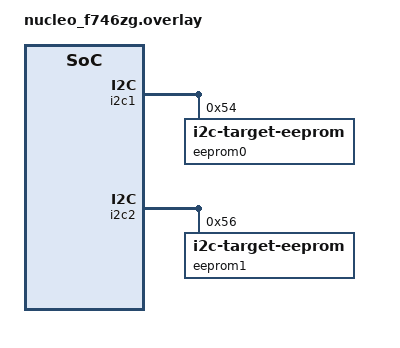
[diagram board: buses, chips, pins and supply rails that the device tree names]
/*
 * Copyright (c) 2020 Nordic Semiconductor ASA
 * SPDX-License-Identifier: Apache-2.0
 */

/* I2C bus pins are exposed on the ST morpho header.
 *
 *  Bus        SDA               SCL
 *          Pin   Hdr         Pin   Hdr
 *  i2c1    PB9   CN7:4      PB8   CN7:2
 *  i2c2    PB11  CN10:34    PB10  CN10:32
 *
 * Short Pin PB9 to PB11, and PB8 to PB10, for the test to pass.
 */

&i2c1 {
	dmas = <&dma1 6 1 STM32_DMA_PERIPH_TX STM32_DMA_FIFO_FULL>,
	       <&dma1 5 1 STM32_DMA_PERIPH_RX STM32_DMA_FIFO_FULL>;
	dma-names = "tx", "rx";

	eeprom0: eeprom@54 {
		compatible = "zephyr,i2c-target-eeprom";
		reg = <0x54>;
		size = <256>;
	};
};

&i2c2 {
	dmas = <&dma1 7 7 STM32_DMA_PERIPH_TX STM32_DMA_FIFO_FULL>,
	       <&dma1 3 7 STM32_DMA_PERIPH_RX STM32_DMA_FIFO_FULL>;
	dma-names = "tx", "rx";

	eeprom1: eeprom@56 {
		compatible = "zephyr,i2c-target-eeprom";
		reg = <0x56>;
		size = <256>;
	};
};

&dma1 {
	status = "okay";
};
